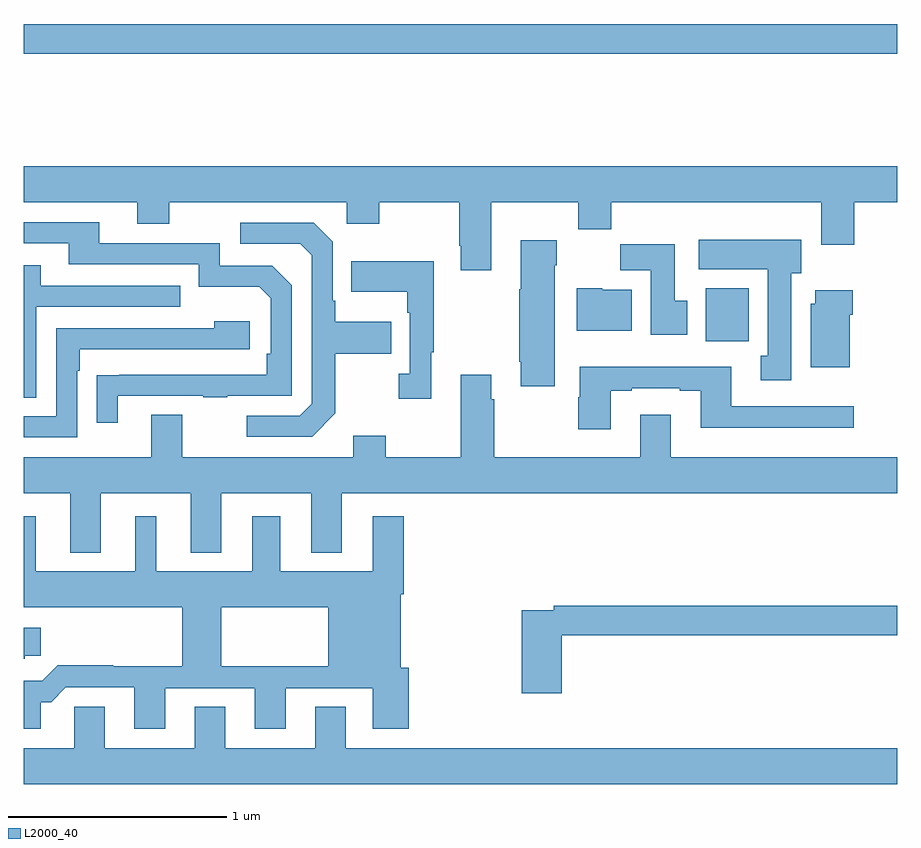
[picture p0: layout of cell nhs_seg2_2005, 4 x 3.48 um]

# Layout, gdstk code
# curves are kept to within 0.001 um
import gdstk
lib = gdstk.Library(unit=1e-6, precision=1e-09)
def R(c, l, rs):  # rectangles x0, y0, x1, y1
    for r in rs: c.add(gdstk.rectangle(r[:2], r[2:], *l))
def P(c, l, *ps):  # polygons
    for p in ps: c.add(gdstk.Polygon(p, *l))
L2000_40 = (2000, 40)

nhs_seg2_2005 = lib.new_cell('nhs_seg2_2005')
R(nhs_seg2_2005, L2000_40, [(218.123,664.316,218.32,664.558), (215,665.632,219,665.768)])
P(nhs_seg2_2005, L2000_40, [(217.141,664.952),(217.54,664.952),(217.54,664.828),(217.691,664.828),(217.691,664.952),(218.651,664.952),(218.651,664.758),(218.804,664.758),(218.804,664.952),(219,664.952),(219,665.116),(215,665.116),(215,664.952),(215.519,664.952),(215.519,664.853),(215.667,664.853),(215.667,664.952),(216.48,664.952),(216.48,664.853),(216.627,664.853),(216.627,664.952),(216.994,664.952),(216.994,664.753),(217.001,664.753),(217.001,664.641),(217.141,664.641)],
  [(215.431,664.065),(215.821,664.065),(215.821,664.06),(215.933,664.06),(215.933,664.065),(216.228,664.065),(216.228,664.572),(216.138,664.662),(215.898,664.662),(215.898,664.764),(215.347,664.764),(215.347,664.86),(215,664.86),(215,664.764),(215.207,664.764),(215.207,664.668),(215.802,664.668),(215.802,664.565),(216.079,664.565),(216.132,664.512),(216.132,664.258),(216.112,664.258),(216.112,664.161),(215.335,664.16),(215.335,663.942),(215.431,663.942)],
  [(216.427,663.985),(216.427,664.258),(216.683,664.258),(216.683,664.405),(216.427,664.405),(216.427,664.501),(216.414,664.501),(216.414,664.77),(216.327,664.857),(215.991,664.857),(215.991,664.761),(216.267,664.761),(216.318,664.71),(216.318,664.029),(216.264,663.975),(216.021,663.975),(216.021,663.879),(216.321,663.879)],
  [(218.515,664.626),(218.56,664.626),(218.56,664.78),(218.091,664.78),(218.091,664.646),(218.408,664.646),(218.408,664.25),(218.375,664.25),(218.375,664.137),(218.515,664.137)],
  [(217.432,664.664),(217.44,664.664),(217.44,664.777),(217.277,664.777),(217.277,664.553),(217.27,664.553),(217.27,664.222),(217.277,664.222),(217.277,664.11),(217.432,664.11)],
  [(218.038,664.5),(217.981,664.5),(217.981,664.759),(217.732,664.759),(217.732,664.64),(217.871,664.64),(217.871,664.344),(218.038,664.344)],
  [(216.865,664.265),(216.877,664.265),(216.877,664.681),(216.499,664.681),(216.499,664.541),(216.756,664.541),(216.756,664.445),(216.768,664.445),(216.768,664.166),(216.717,664.166),(216.717,664.053),(216.865,664.053)],
  [(215.058,664.473),(215.717,664.473),(215.717,664.569),(215.077,664.569),(215.077,664.663),(215,664.663),(215,664.057),(215.058,664.057)],
  [(217.783,664.552),(217.65,664.552),(217.65,664.558),(217.532,664.558),(217.532,664.364),(217.783,664.364)],
  [(218.782,664.436),(218.795,664.436),(218.795,664.549),(218.624,664.549),(218.624,664.488),(218.603,664.488),(218.603,664.196),(218.782,664.196)],
  [(215.244,664.181),(215.257,664.181),(215.257,664.278),(216.034,664.278),(216.034,664.408),(215.873,664.408),(215.873,664.374),(215.148,664.374),(215.148,663.972),(215,663.972),(215,663.876),(215.244,663.876)],
  [(217.687,664.089),(217.783,664.089),(217.783,664.101),(218.003,664.101),(218.003,664.089),(218.099,664.089),(218.099,663.92),(218.8,663.92),(218.8,664.017),(218.239,664.017),(218.239,664.198),(217.547,664.198),(217.547,664.059),(217.54,664.059),(217.54,663.912),(217.687,663.912)],
  [(215.353,663.62),(215.765,663.62),(215.765,663.347),(215.905,663.347),(215.905,663.62),(216.317,663.62),(216.317,663.347),(216.457,663.347),(216.457,663.62),(219,663.62),(219,663.784),(217.963,663.784),(217.963,663.979),(217.823,663.979),(217.823,663.784),(217.154,663.784),(217.154,664.049),(217.141,664.049),(217.141,664.162),(217.001,664.162),(217.001,663.784),(216.657,663.784),(216.657,663.883),(216.509,663.883),(216.509,663.784),(215.725,663.784),(215.725,663.979),(215.585,663.979),(215.585,663.784),(215,663.784),(215,663.62),(215.213,663.62),(215.213,663.347),(215.353,663.347)],
  [(215.411,662.831),(215.156,662.831),(215.085,662.76),(215,662.76),(215,662.541),(215.077,662.541),(215.077,662.663),(215.126,662.663),(215.193,662.73),(215.507,662.73),(215.507,662.541),(215.647,662.541),(215.647,662.727),(216.059,662.727),(216.059,662.541),(216.199,662.541),(216.199,662.727),(216.599,662.727),(216.599,662.541),(216.764,662.541),(216.764,662.82),(216.727,662.82),(216.727,663.158),(216.74,663.158),(216.74,663.514),(216.599,663.514),(216.599,663.262),(216.175,663.262),(216.175,663.514),(216.047,663.514),(216.047,663.262),(215.608,663.262),(215.608,663.514),(215.51,663.514),(215.51,663.262),(215.056,663.262),(215.056,663.514),(215,663.514),(215,663.098),(215.726,663.098),(215.726,662.828),(215.904,662.828),(215.904,663.098),(216.395,663.098),(216.395,662.828),(215.411,662.828)],
  [(217.463,662.968),(219,662.968),(219,663.104),(217.426,663.104),(217.426,663.084),(217.28,663.084),(217.28,662.703),(217.463,662.703)],
  [(215.004,662.875),(215.077,662.875),(215.077,663.004),(215,663.004),(215,662.861),(215.004,662.861)],
  [(219,662.452),(216.475,662.452),(216.475,662.642),(216.335,662.642),(216.335,662.452),(215.923,662.452),(215.923,662.642),(215.783,662.642),(215.783,662.452),(215.371,662.452),(215.371,662.642),(215.232,662.642),(215.232,662.452),(215,662.452),(215,662.288),(219,662.288)])

lib.write_gds('nhs_seg2_2005.gds')
